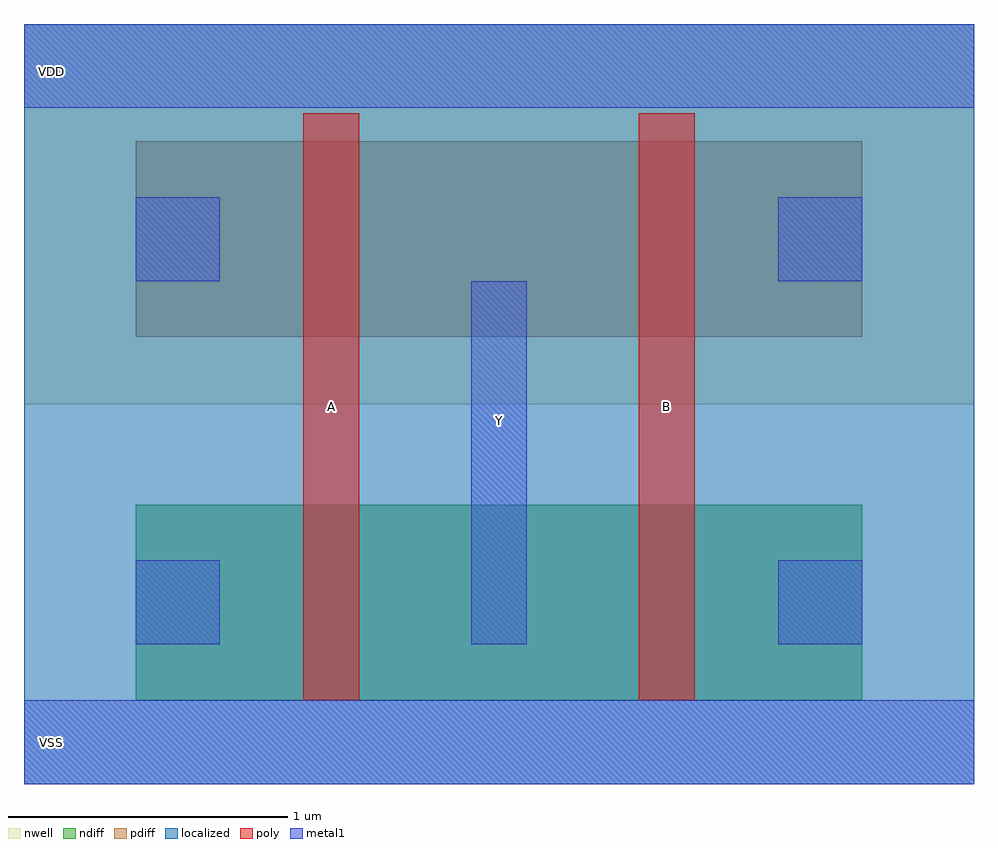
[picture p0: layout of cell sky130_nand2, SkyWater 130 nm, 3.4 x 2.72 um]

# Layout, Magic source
magic
tech sky130A
<< nwell >>
rect 0 136 340 272
<< localized >>
rect 0 0 340 272
<< poly >>
rect 100 30 120 240
rect 220 30 240 240
<< ndiff >>
rect 40 30 300 100
<< pdiff >>
rect 40 160 300 230
<< metal1 >>
rect 0 0 340 30
rect 0 242 340 272
rect 40 50 70 80
rect 160 50 180 80
rect 270 50 300 80
rect 40 180 70 210
rect 270 180 300 210
rect 160 80 180 180
<< labels >>
rlabel metal1 10 15 10 15 0 VSS
rlabel metal1 10 255 10 255 0 VDD
rlabel poly 110 135 110 135 0 A
rlabel poly 230 135 230 135 0 B
rlabel metal1 170 130 170 130 0 Y
<< end >>
